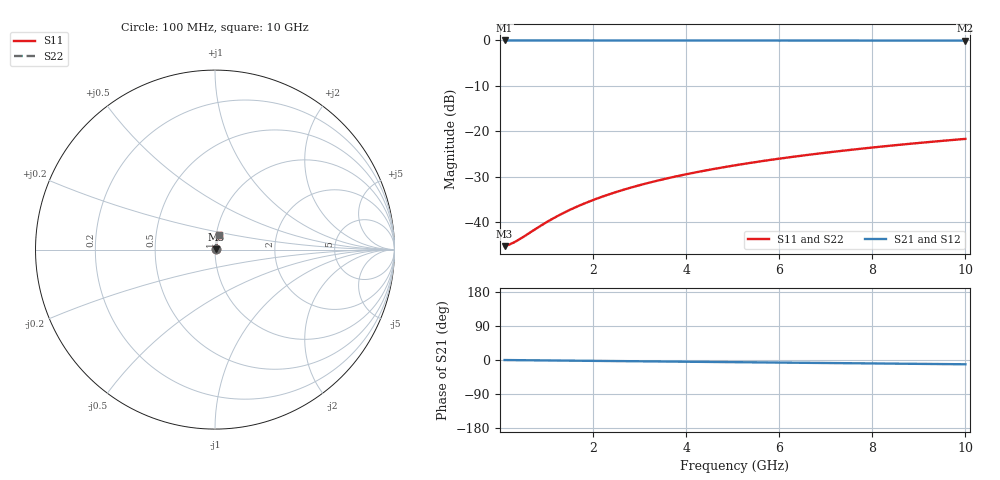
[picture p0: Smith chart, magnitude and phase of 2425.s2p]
# Hz S RI R 50.00
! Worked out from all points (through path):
!   100 points, 100 MHz to 10 GHz, reference 50 ohm
!   highest |S21| = -0.05 dB at 100 MHz (marker M1); lowest = -0.1 dB at 10 GHz (marker M2)
!   group delay of S21, straight-line fit = 3.14 ps
!   lowest |S11| = -45.3 dB at 100 MHz (marker M3), VSWR 1.01, Z = 50.5 + j0.0825 ohm
!   |S11| at or under -10 dB: start of sweep to end of sweep
!   |S22| runs from -45.3 to -21.7 dB; largest |S21 - S12| = 0
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1e8  0.00536 0.000816  0.9946 -0.00197  0.9946 -0.00197  0.00536 0.000816
2e8  0.0054 0.00163  0.9946 -0.00393  0.9946 -0.00393  0.0054 0.00163
3e8  0.00543 0.00245  0.9946 -0.0059  0.9946 -0.0059  0.00543 0.00245
4e8  0.00546 0.00326  0.9945 -0.00786  0.9945 -0.00786  0.00546 0.00326
9e8  0.00564 0.00734  0.9943 -0.0177  0.9943 -0.0177  0.00564 0.00734
1.2e9  0.00577 0.00978  0.9941 -0.0236  0.9941 -0.0236  0.00577 0.00978
1.5e9  0.00593 0.0122  0.9939 -0.0295  0.9939 -0.0295  0.00593 0.0122
1.8e9  0.00611 0.0147  0.9937 -0.0354  0.9937 -0.0354  0.00611 0.0147
2.1e9  0.00632 0.0171  0.9934 -0.0413  0.9934 -0.0413  0.00632 0.0171
2.5e9  0.00664 0.0203  0.9929 -0.0491  0.9929 -0.0491  0.00664 0.0203
2.9e9  0.00701 0.0236  0.9924 -0.0569  0.9924 -0.0569  0.00701 0.0236
3.4e9  0.00755 0.0276  0.9916 -0.0667  0.9916 -0.0667  0.00755 0.0276
3.8e9  0.00803 0.0308  0.991 -0.0746  0.991 -0.0746  0.00803 0.0308
4.2e9  0.00856 0.0341  0.9902 -0.0824  0.9902 -0.0824  0.00856 0.0341
4.6e9  0.00914 0.0373  0.9894 -0.0902  0.9894 -0.0902  0.00914 0.0373
5.1e9  0.00994 0.0413  0.9883 -0.0999  0.9883 -0.0999  0.00994 0.0413
5.9e9  0.0114 0.0476  0.9862 -0.1155  0.9862 -0.1155  0.0114 0.0476
6.7e9  0.013 0.0539  0.9839 -0.131  0.9839 -0.131  0.013 0.0539
7.5e9  0.0149 0.0601  0.9813 -0.1464  0.9813 -0.1464  0.0149 0.0601
8.4e9  0.0172 0.0671  0.9781 -0.1637  0.9781 -0.1637  0.0172 0.0671
9.2e9  0.0194 0.0732  0.9749 -0.179  0.9749 -0.179  0.0194 0.0732
1e10  0.0218 0.0792  0.9714 -0.1943  0.9714 -0.1943  0.0218 0.0792
